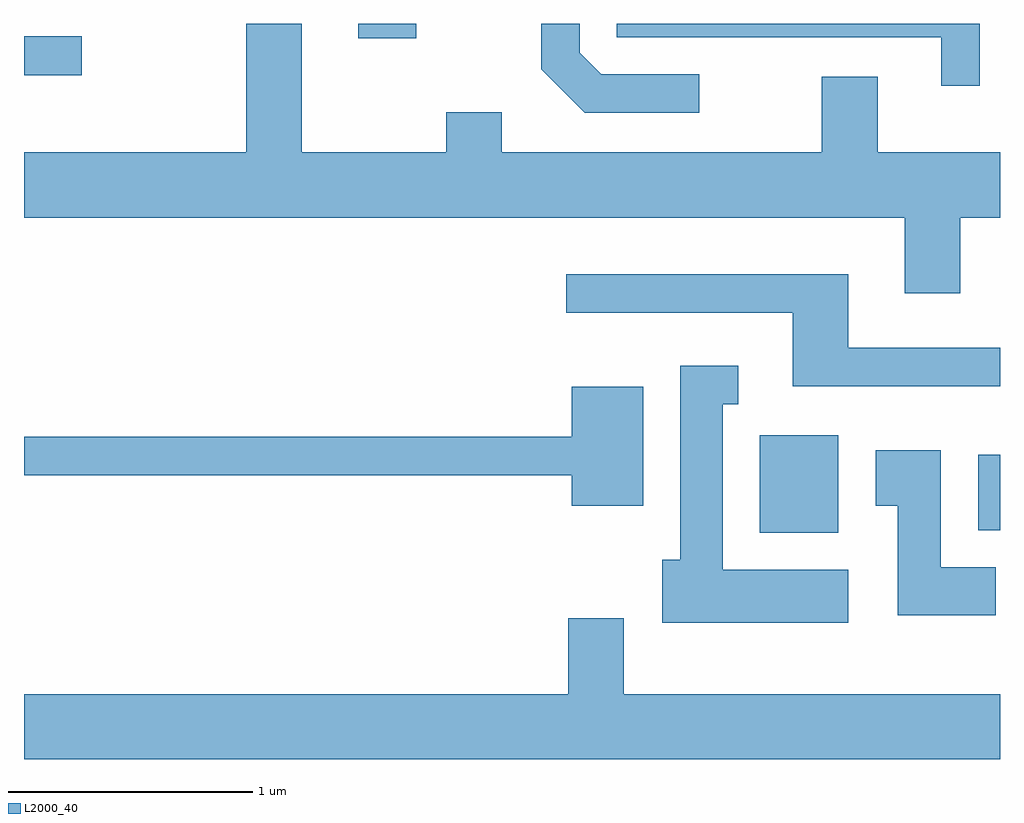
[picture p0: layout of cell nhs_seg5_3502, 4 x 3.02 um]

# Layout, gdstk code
import gdstk
lib = gdstk.Library(unit=1e-6, precision=1e-09)
def R(c, l, rs):  # rectangles x0, y0, x1, y1
    for r in rs: c.add(gdstk.rectangle(r[:2], r[2:], *l))
def P(c, l, *ps):  # polygons
    for p in ps: c.add(gdstk.Polygon(p, *l))
L2000_40 = (2000, 40)

nhs_seg5_3502 = lib.new_cell('nhs_seg5_3502')
R(nhs_seg5_3502, L2000_40, [(292.626,1419.986,292.949,1420.384), (293.521,1419.996,293.611,1420.304), (289.611,1421.861,289.848,1422.019), (290.981,1422.011,291.218,1422.072)])
P(nhs_seg5_3502, L2000_40, [(293.449,1421.276),(293.611,1421.276),(293.611,1421.544),(293.109,1421.544),(293.109,1421.854),(292.881,1421.854),(292.881,1421.544),(291.569,1421.544),(291.569,1421.709),(291.341,1421.709),(291.341,1421.544),(290.749,1421.544),(290.749,1422.072),(290.521,1422.072),(290.521,1421.544),(289.611,1421.544),(289.611,1421.276),(293.221,1421.276),(293.221,1420.966),(293.449,1420.966)],
  [(293.529,1422.072),(292.041,1422.072),(292.041,1422.016),(293.371,1422.016),(293.371,1421.818),(293.529,1421.818)],
  [(292.378,1421.864),(291.977,1421.864),(291.889,1421.952),(291.889,1422.072),(291.731,1422.072),(291.731,1421.884),(291.909,1421.706),(292.378,1421.706)],
  [(293.611,1420.744),(292.989,1420.744),(292.989,1421.044),(291.833,1421.044),(291.833,1420.886),(292.761,1420.886),(292.761,1420.586),(293.611,1420.586)],
  [(292.989,1419.834),(292.474,1419.834),(292.474,1420.511),(292.538,1420.511),(292.538,1420.669),(292.301,1420.669),(292.301,1419.874),(292.226,1419.874),(292.226,1419.616),(292.989,1419.616)],
  [(292.149,1420.584),(291.856,1420.584),(291.856,1420.379),(289.611,1420.379),(289.611,1420.221),(291.856,1420.221),(291.856,1420.096),(292.149,1420.096)],
  [(293.594,1419.844),(293.369,1419.844),(293.369,1420.324),(293.101,1420.324),(293.101,1420.096),(293.191,1420.096),(293.191,1419.646),(293.594,1419.646)],
  [(293.611,1419.324),(292.069,1419.324),(292.069,1419.634),(291.841,1419.634),(291.841,1419.324),(289.611,1419.324),(289.611,1419.056),(293.611,1419.056)])

lib.write_gds('nhs_seg5_3502.gds')
